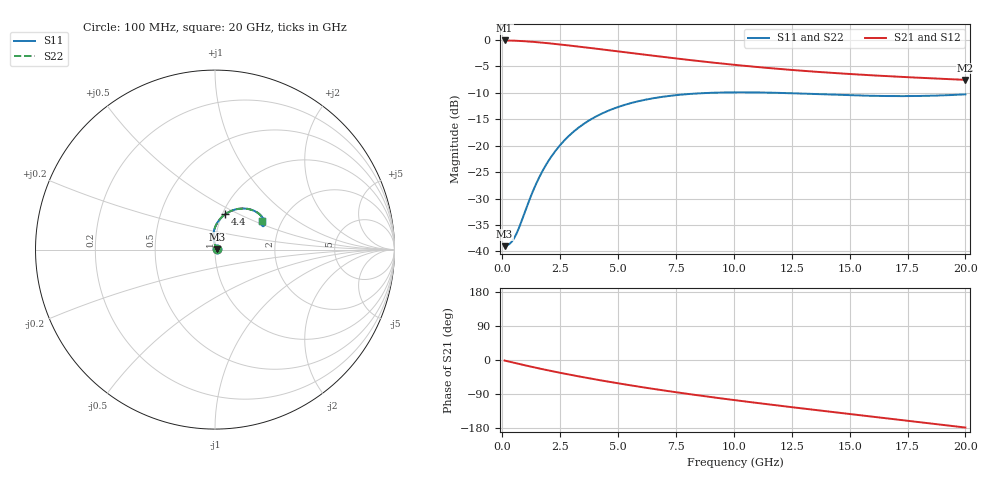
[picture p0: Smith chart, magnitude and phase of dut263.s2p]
! Created with skrf 1.9.0 (http://scikit-rf.org).
# GHz S RI R 50.0
!freq ReS11 ImS11 ReS21 ImS21 ReS12 ImS12 ReS22 ImS22
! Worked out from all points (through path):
!   200 points, 100 MHz to 20 GHz, reference 50 ohm
!   highest |S21| = -0.10 dB at 100 MHz (marker M1); lowest = -7.6 dB at 20 GHz (marker M2)
!   group delay of S21, straight-line fit = 23.5 ps
!   lowest |S11| = -39.0 dB at 100 MHz (marker M3), VSWR 1.02, Z = 51.1 + j0.187 ohm
!   |S11| at or under -10 dB: start of sweep to 9.035 GHz; 11.81 GHz to end of sweep
!   |S22| runs from -39.0 to -9.9 dB; largest |S21 - S12| = 2.4e-15
!   S11 on the Smith chart (normalised r, x): 100 MHz: 1.02, +0.00; 4.4 GHz: 1.03, +0.43; 20 GHz: 1.59, +0.56
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0.1  0.011 0.00183  0.9883 -0.025  0.9883 -0.025  0.011 0.00183
0.3  0.0102 0.00568  0.9842 -0.0748  0.9842 -0.0748  0.0102 0.00568
0.4  0.00951 0.00778  0.9807 -0.0995  0.9807 -0.0995  0.00951 0.00778
0.6  0.00744 0.0124  0.9708 -0.1479  0.9708 -0.1479  0.00744 0.0124
1.4  -0.00425 0.0404  0.9001 -0.3234  0.9001 -0.3234  -0.00425 0.0404
1.7  -0.00756 0.0551  0.8639 -0.3798  0.8639 -0.3798  -0.00756 0.0551
2  -0.00905 0.0715  0.8241 -0.4307  0.8241 -0.4307  -0.00905 0.0715
2.3  -0.00827 0.0891  0.7817 -0.4762  0.7817 -0.4762  -0.00827 0.0891
2.7  -0.00338 0.1132  0.7224 -0.5289  0.7224 -0.5289  -0.00338 0.1132
3.1  0.00582 0.1367  0.6613 -0.573  0.6613 -0.573  0.00582 0.1367
3.5  0.0188 0.1585  0.5993 -0.6091  0.5993 -0.6091  0.0188 0.1585
4.4  0.058 0.1975  0.461 -0.6649  0.461 -0.6649  0.058 0.1975
5.5  0.1136 0.2236  0.3015 -0.6928  0.3015 -0.6928  0.1136 0.2236
6.8  0.1749 0.2279  0.1356 -0.6839  0.1356 -0.6839  0.1749 0.2279
8.4  0.2305 0.2096  -0.0302 -0.6336  -0.0302 -0.6336  0.2305 0.2096
10.1  0.2637 0.1805  -0.1637 -0.5556  -0.1637 -0.5556  0.2637 0.1805
11.7  0.2758 0.1555  -0.2571 -0.4722  -0.2571 -0.4722  0.2758 0.1555
13.4  0.2759 0.1376  -0.3298 -0.3792  -0.3298 -0.3792  0.2759 0.1376
15  0.27 0.1305  -0.3778 -0.2899  -0.3778 -0.2899  0.27 0.1305
16.7  0.2627 0.1331  -0.4098 -0.1943  -0.4098 -0.1943  0.2627 0.1331
18.3  0.2589 0.1433  -0.4228 -0.105  -0.4228 -0.105  0.2589 0.1433
20  0.2608 0.1594  -0.419 -0.0129  -0.419 -0.0129  0.2608 0.1594
